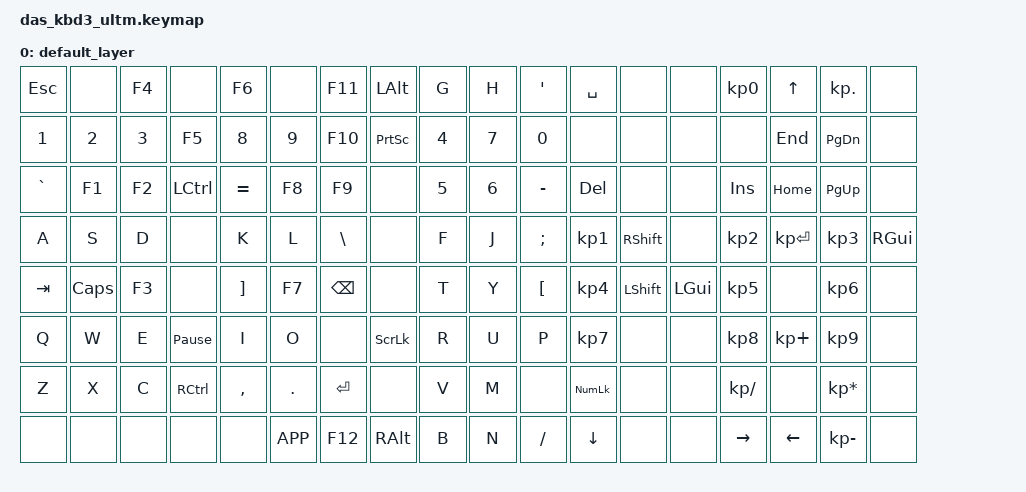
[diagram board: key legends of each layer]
// Das Keyboard 3.0 Ultimate — ZMK keymap
// 104-key ANSI layout matching the matrix transform in das_kbd3_ultm.overlay
// Key order follows default_transform rows top-to-bottom.

#include <behaviors.dtsi>
#include <dt-bindings/zmk/keys.h>

/ {
    keymap {
        compatible = "zmk,keymap";

        default_layer {
            bindings = <
                // ── R0: ESC     -        F4       -        F6       -        F11      LAlt     G        H        '        Space    -        -        KP0      Up       KP.      -
                   &kp ESC   &none     &kp F4    &none     &kp F6    &none     &kp F11   &kp LALT  &kp G     &kp H     &kp SQT   &kp SPACE &none     &none     &kp KP_N0 &kp UP    &kp KP_DOT &none
                // ── R1: N1      N2       N3       F5       N8       N9       F10      PrtSc    N4       N7       N0       -        -        -        -        End      PgDn     -
                   &kp N1    &kp N2    &kp N3    &kp F5    &kp N8    &kp N9    &kp F10   &kp PSCRN &kp N4    &kp N7    &kp N0    &none     &none     &none     &none     &kp END   &kp PG_DN  &none
                // ── R2: `       F1       F2       LCtrl    =        F8       F9       -        N5       N6       -        Del      -        -        Ins      Home     PgUp     -
                   &kp GRAVE &kp F1    &kp F2    &kp LCTRL &kp EQUAL &kp F8    &kp F9    &none     &kp N5    &kp N6    &kp MINUS &kp DEL   &none     &none     &kp INS   &kp HOME  &kp PG_UP  &none
                // ── R3: A       S        D        -        K        L        \        -        F        J        ;        KP1      RShft    -        KP2      KPEnt    KP3      RWin
                   &kp A     &kp S     &kp D     &none     &kp K     &kp L     &kp BSLH  &none     &kp F     &kp J     &kp SEMI  &kp KP_N1 &kp RSHFT &none     &kp KP_N2 &kp KP_ENTER &kp KP_N3 &kp RGUI
                // ── R4: Tab     Caps     F3       -        ]}       F7       BkSp     -        T        Y        [{       KP4      LShft    LWin     KP5      -        KP6      -
                   &kp TAB   &kp CAPS  &kp F3    &none     &kp RBKT  &kp F7    &kp BSPC  &none     &kp T     &kp Y     &kp LBKT  &kp KP_N4 &kp LSHFT &kp LGUI  &kp KP_N5 &none     &kp KP_N6  &none
                // ── R5: Q       W        E        Pause    I        O        -        ScLk     R        U        P        KP7      -        -        KP8      KP+      KP9      -
                   &kp Q     &kp W     &kp E     &kp PAUSE_BREAK &kp I &kp O   &none     &kp SLCK  &kp R     &kp U     &kp P     &kp KP_N7 &none     &none     &kp KP_N8 &kp KP_PLUS &kp KP_N9 &none
                // ── R6: Z       X        C        RCtrl    ,        .        Enter    -        V        M        -        NumLk    -        -        KP/      -        KP*      -
                   &kp Z     &kp X     &kp C     &kp RCTRL &kp COMMA &kp DOT   &kp RET   &none     &kp V     &kp M     &none     &kp KP_NUM &none    &none     &kp KP_SLASH &none   &kp KP_MULTIPLY &none
                // ── R7: -       -        -        -        -        Apps     F12      RAlt     B        N        /?       Down     -        -        Right    Left     KP-      -
                   &none     &none     &none     &none     &none     &kp K_APP &kp F12   &kp RALT  &kp B     &kp N     &kp FSLH  &kp DOWN  &none     &none     &kp RIGHT &kp LEFT  &kp KP_MINUS &none
            >;
        };
    };
};
